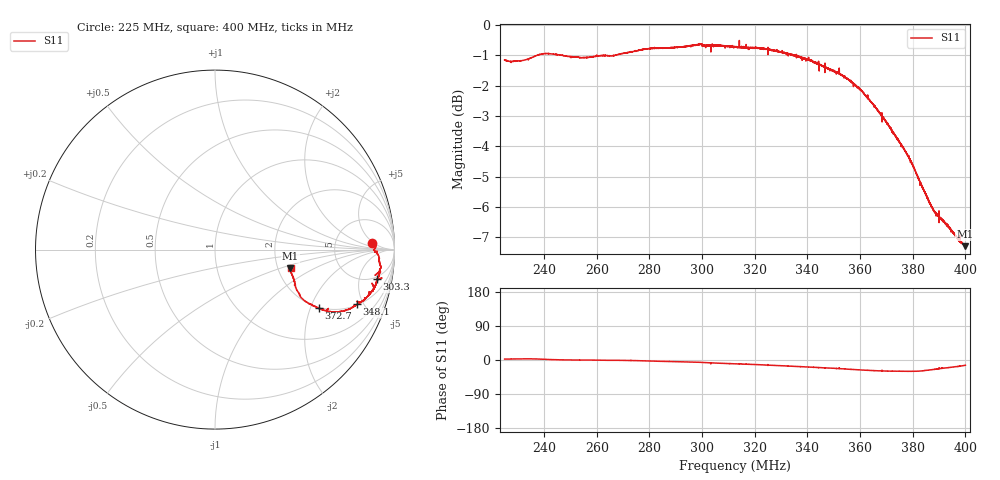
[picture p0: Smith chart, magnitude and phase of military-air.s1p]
! Calibrated averaged scanner-service zoom
# Hz S RI R 50
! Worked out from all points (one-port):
!   10001 points, 225 MHz to 400 MHz, reference 50 ohm
!   lowest |S11| = -7.3 dB at 399.7 MHz (marker M1), VSWR 2.52, Z = 117 - j30 ohm
!   |S11| at or under -10 dB: nowhere
!   S11 on the Smith chart (normalised r, x): 225 MHz: 14, +4; 303.3 MHz: 4.30, -8.94; 348.1 MHz: 2.06, -4.44; 372.7 MHz: 1.96, -2.30; 400 MHz: 2.35, -0.60
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2.25e8  0.8752 0.0365
2.307575e8  0.8722 0.0441
2.3557e8  0.8837 0.0454
2.404e8  0.8974 0.0277
2.46875e8  0.8921 0.00592
2.550125e8  0.884 -0.00254
2.6875e8  0.8961 -0.0143
2.793025e8  0.9132 -0.0398
2.90625e8  0.9163 -0.0719
2.991125e8  0.9236 -0.0981
3.033125e8  0.9018 -0.1655
3.125e8  0.9077 -0.1607
3.232625e8  0.8919 -0.2077
3.34375e8  0.8562 -0.254
3.413225e8  0.827 -0.2838
3.481125e8  0.7896 -0.3052
3.518925e8  0.7682 -0.3202
3.5625e8  0.7359 -0.3349
3.610275e8  0.6926 -0.3465
3.64965e8  0.6536 -0.3469
3.6927e8  0.6097 -0.3396
3.726825e8  0.5787 -0.3269
3.78125e8  0.5291 -0.3034
3.8229e8  0.4866 -0.2733
3.8691e8  0.4543 -0.2204
3.90865e8  0.4426 -0.1811
3.997375e8  0.419 -0.1046
4e8  0.422 -0.1037
